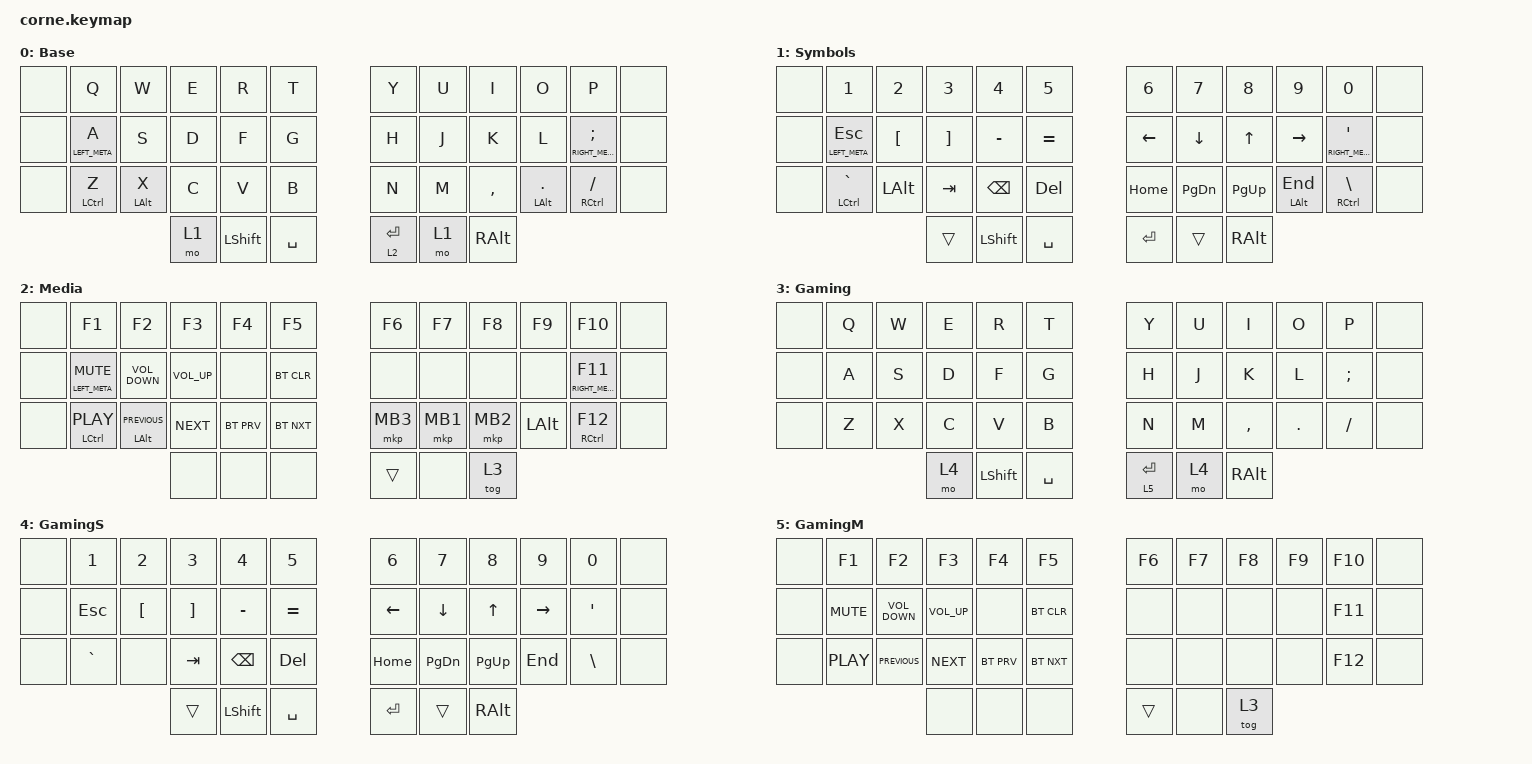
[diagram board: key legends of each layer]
/*
 * Copyright (c) 2020 The ZMK Contributors
 *
 * SPDX-License-Identifier: MIT
 */

#include <behaviors.dtsi>
#include <dt-bindings/zmk/bt.h>
#include <dt-bindings/zmk/keys.h>
#include <dt-bindings/zmk/mouse.h>

/ {
    behaviors {
        bmt: balanced_mod_tap {
            compatible = "zmk,behavior-hold-tap";
            label = "BALANCED MOD TAP";
            #binding-cells = <2>;
            tapping-term-ms = <200>;
            quick-tap-ms = <0>;
            flavor = "balanced";
            bindings = <&kp>, <&kp>;
        };
    };

    keymap {
        compatible = "zmk,keymap";

        base {
            display-name = "Base";
            bindings = <
&none  &kp Q                &kp W            &kp E  &kp R           &kp T        &kp Y        &kp U  &kp I      &kp O                 &kp P                      &none
&none  &bmt LEFT_META A     &kp S            &kp D  &kp F           &kp G        &kp H        &kp J  &kp K      &kp L                 &bmt RIGHT_META SEMICOLON  &none
&none  &bmt LEFT_CONTROL Z  &bmt LEFT_ALT X  &kp C  &kp V           &kp B        &kp N        &kp M  &kp COMMA  &bmt LEFT_ALT PERIOD  &bmt RIGHT_CONTROL SLASH   &none
                                             &mo 1  &kp LEFT_SHIFT  &kp SPACE    &lt 2 ENTER  &mo 1  &kp RALT
            >;
        };

        symbols {
            display-name = "Symbols";
            bindings = <
&none  &kp NUMBER_1             &kp N2        &kp N3             &kp N4     &kp N5       &kp N6    &kp N7     &kp N8         &kp N9             &kp N0                        &none
&none  &bmt LEFT_META ESCAPE    &kp LBKT      &kp RIGHT_BRACKET  &kp MINUS  &kp EQUAL    &kp LEFT  &kp DOWN   &kp UP         &kp RIGHT          &bmt RIGHT_META SINGLE_QUOTE  &none
&none  &bmt LEFT_CONTROL GRAVE  &kp LEFT_ALT  &kp TAB            &kp BSPC   &kp DEL      &kp HOME  &kp PG_DN  &kp PG_UP      &bmt LEFT_ALT END  &bmt RIGHT_CONTROL BACKSLASH  &none
                                              &trans             &kp LSHFT  &kp SPACE    &kp RET   &trans     &kp RIGHT_ALT
            >;
        };

        media {
            display-name = "Media";
            bindings = <
&none  &kp F1                    &kp F2                    &kp F3           &kp F4      &kp F5        &kp F6    &kp F7    &kp F8    &kp F9        &kp F10                 &none
&none  &bmt LEFT_META C_MUTE     &kp C_VOLUME_DOWN         &kp C_VOLUME_UP  &none       &bt BT_CLR    &none     &none     &none     &none         &bmt RIGHT_META F11     &none
&none  &bmt LEFT_CONTROL C_PLAY  &bmt LEFT_ALT C_PREVIOUS  &kp C_NEXT       &bt BT_PRV  &bt BT_NXT    &mkp MB3  &mkp MB1  &mkp MB2  &kp LEFT_ALT  &bmt RIGHT_CONTROL F12  &none
                                                           &none            &none       &none         &trans    &none     &tog 3
            >;
        };

        gaming {
            display-name = "Gaming";
            bindings = <
&none  &kp Q  &kp W  &kp E  &kp R      &kp T        &kp Y        &kp U  &kp I          &kp O    &kp P     &none
&none  &kp A  &kp S  &kp D  &kp F      &kp G        &kp H        &kp J  &kp K          &kp L    &kp SEMI  &none
&none  &kp Z  &kp X  &kp C  &kp V      &kp B        &kp N        &kp M  &kp COMMA      &kp DOT  &kp FSLH  &none
                     &mo 4  &kp LSHFT  &kp SPACE    &lt 5 ENTER  &mo 4  &kp RIGHT_ALT
            >;
        };

        gamings {
            display-name = "GamingS";
            bindings = <
&none  &kp N1     &kp N2    &kp N3             &kp N4          &kp N5       &kp N6    &kp N7     &kp N8         &kp N9     &kp N0    &none
&none  &kp ESC    &kp LBKT  &kp RIGHT_BRACKET  &kp MINUS       &kp EQUAL    &kp LEFT  &kp DOWN   &kp UP         &kp RIGHT  &kp SQT   &none
&none  &kp GRAVE  &none     &kp TAB            &kp BSPC        &kp DEL      &kp HOME  &kp PG_DN  &kp PG_UP      &kp END    &kp BSLH  &none
                            &trans             &kp LEFT_SHIFT  &kp SPACE    &kp RET   &trans     &kp RIGHT_ALT
            >;
        };

        gamingm {
            display-name = "GamingM";
            bindings = <
&none  &kp F1      &kp F2             &kp F3           &kp F4      &kp F5        &kp F6  &kp F7  &kp F8  &kp F9  &kp F10  &none
&none  &kp C_MUTE  &kp C_VOLUME_DOWN  &kp C_VOLUME_UP  &none       &bt BT_CLR    &none   &none   &none   &none   &kp F11  &none
&none  &kp C_PLAY  &kp C_PREVIOUS     &kp C_NEXT       &bt BT_PRV  &bt BT_NXT    &none   &none   &none   &none   &kp F12  &none
                                      &none            &none       &none         &trans  &none   &tog 3
            >;
        };
    };
};
